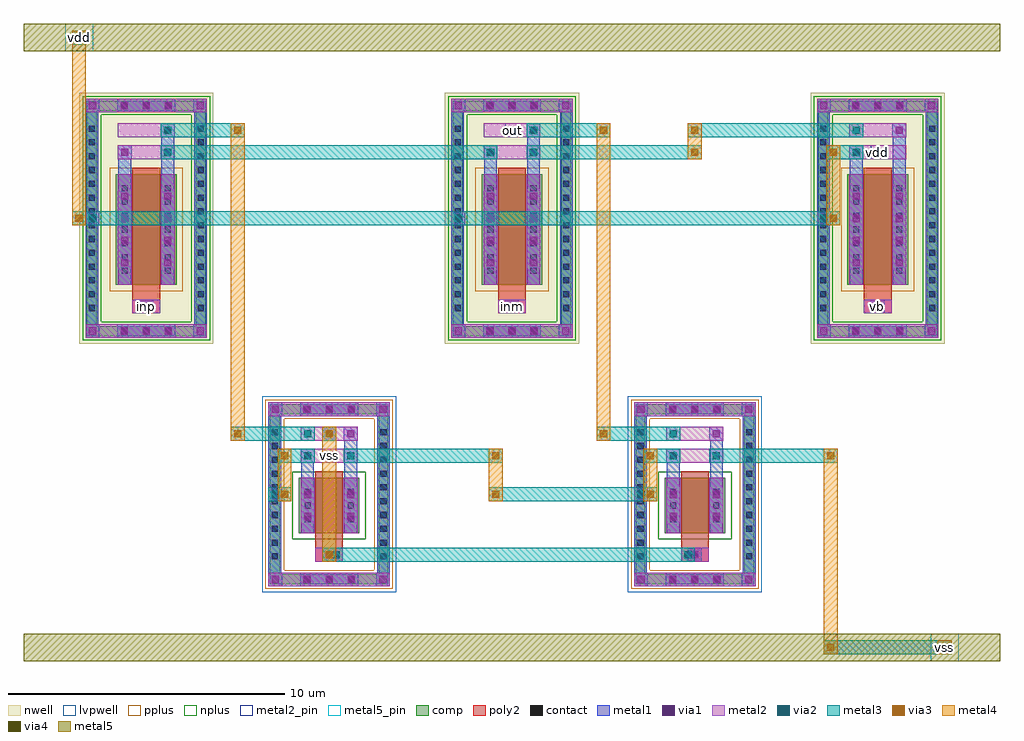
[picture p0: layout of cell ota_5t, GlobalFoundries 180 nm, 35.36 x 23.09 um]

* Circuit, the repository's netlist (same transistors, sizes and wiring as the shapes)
* PMOS-input 5T-OTA (schematic — pre-layout)
.subckt ota_5t vdd vss inp inm out vb
XM1 tail vb vdd vdd pfet_03v3 L=1u W=4u nf=1
XM2 d1 inp tail vdd pfet_03v3 L=1u W=4u nf=1
XM3 out inm tail vdd pfet_03v3 L=1u W=4u nf=1
XM4 d1 d1 vss vss nfet_03v3 L=1u W=2u nf=1
XM5 out d1 vss vss nfet_03v3 L=1u W=2u nf=1
.ends

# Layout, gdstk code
import gdstk
lib = gdstk.Library(unit=1e-6, precision=5e-09)
def R(c, l, rs):  # rectangles x0, y0, x1, y1
    for r in rs: c.add(gdstk.rectangle(r[:2], r[2:], *l))
def A(c, l, x, y, w, h, nx, ny, dx, dy):  # array of equal rectangles
    R(c, l, [(x+i*dx, y+j*dy, x+i*dx+w, y+j*dy+h) for i in range(nx) for j in range(ny)])
def P(c, l, *ps):  # polygons
    for p in ps: c.add(gdstk.Polygon(p, *l))
nwell = (21, 0)
comp = (22, 0)
poly2 = (30, 0)
pplus = (31, 0)
nplus = (32, 0)
contact = (33, 0)
metal1 = (34, 0)
via1 = (35, 0)
metal2 = (36, 0)
metal2_pin = (36, 10)
via2 = (38, 0)
via3 = (40, 0)
via4 = (41, 0)
metal3 = (42, 0)
metal4 = (46, 0)
metal5 = (81, 0)
metal5_pin = (81, 10)
lvpwell = (204, 0)

ota_5t = lib.new_cell('ota_5t')
A(ota_5t, nwell, -2.43, 5.455, 4.86, 9.09, 3, 1, 13.25, 0)
A(ota_5t, nwell, -2.27, 5.615, 4.54, 8.77, 3, 1, 13.25, 0)
A(ota_5t, comp, 5.645, -3.265, 0.36, 0.36, 3, 2, 0.8, 6.17)
A(ota_5t, comp, 18.895, -3.265, 0.36, 0.36, 3, 2, 0.8, 6.17)
A(ota_5t, comp, 4.475, -2.43, 0.36, 0.36, 1, 10, 0, 0.5)
A(ota_5t, comp, 8.415, -2.43, 0.36, 0.36, 1, 10, 0, 0.5)
A(ota_5t, comp, 17.725, -2.43, 0.36, 0.36, 1, 10, 0, 0.5)
A(ota_5t, comp, 21.665, -2.43, 0.36, 0.36, 1, 10, 0, 0.5)
A(ota_5t, comp, -0.98, 5.735, 0.36, 0.36, 3, 2, 0.8, 8.17)
A(ota_5t, comp, -0.98, 5.735, 1.96, 0.36, 3, 2, 13.25, 8.17)
A(ota_5t, comp, 12.27, 5.735, 0.36, 0.36, 3, 2, 0.8, 8.17)
A(ota_5t, comp, 25.52, 5.735, 0.36, 0.36, 3, 2, 0.8, 8.17)
A(ota_5t, comp, -2.15, 6.57, 0.36, 0.36, 1, 14, 0, 0.5)
A(ota_5t, comp, 1.79, 6.57, 0.36, 0.36, 1, 14, 0, 0.5)
A(ota_5t, comp, 11.1, 6.57, 0.36, 0.36, 1, 14, 0, 0.5)
A(ota_5t, comp, 15.04, 6.57, 0.36, 0.36, 1, 14, 0, 0.5)
A(ota_5t, comp, 24.35, 6.57, 0.36, 0.36, 1, 14, 0, 0.5)
A(ota_5t, comp, 28.29, 6.57, 0.36, 0.36, 1, 14, 0, 0.5)
A(ota_5t, comp, -1.1, 7.595, 2.2, 4, 3, 1, 13.25, 0)
R(ota_5t, comp, [(5.645,-3.265,7.605,-2.905), (18.895,-3.265,20.855,-2.905), (4.475,-2.43,4.835,2.43), (8.415,-2.43,8.775,2.43), (17.725,-2.43,18.085,2.43), (21.665,-2.43,22.025,2.43), (5.525,-1.405,7.725,0.595), (18.775,-1.405,20.975,0.595), (5.645,2.905,7.605,3.265), (18.895,2.905,20.855,3.265), (-2.15,6.57,-1.79,13.43), (1.79,6.57,2.15,13.43), (11.1,6.57,11.46,13.43), (15.04,6.57,15.4,13.43), (24.35,6.57,24.71,13.43), (28.29,6.57,28.65,13.43)])
P(ota_5t, comp, [(28.65,14.265),(24.35,14.265),(24.35,6.095),(24.71,6.095),(24.71,13.905),(28.29,13.905),(28.29,6.095),(24.71,6.095),(24.35,6.095),(24.35,5.735),(28.65,5.735)],
  [(22.025,3.265),(17.725,3.265),(17.725,-2.905),(18.085,-2.905),(18.085,2.905),(21.665,2.905),(21.665,-2.905),(18.085,-2.905),(17.725,-2.905),(17.725,-3.265),(22.025,-3.265)],
  [(8.775,3.265),(4.475,3.265),(4.475,-2.905),(4.835,-2.905),(4.835,2.905),(8.415,2.905),(8.415,-2.905),(4.835,-2.905),(4.475,-2.905),(4.475,-3.265),(8.775,-3.265)],
  [(15.4,14.265),(11.1,14.265),(11.1,6.095),(11.46,6.095),(11.46,13.905),(15.04,13.905),(15.04,6.095),(11.46,6.095),(11.1,6.095),(11.1,5.735),(15.4,5.735)],
  [(2.15,14.265),(-2.15,14.265),(-2.15,6.095),(-1.79,6.095),(-1.79,13.905),(1.79,13.905),(1.79,6.095),(-1.79,6.095),(-2.15,6.095),(-2.15,5.735),(2.15,5.735)])
A(ota_5t, poly2, -0.5, 6.555, 1, 0.5, 3, 1, 13.25, 0)
A(ota_5t, poly2, -0.18, 6.625, 0.36, 0.36, 3, 1, 13.25, 0)
A(ota_5t, poly2, -0.5, 7.055, 1, 0.3, 3, 1, 13.25, 0)
A(ota_5t, poly2, -0.5, 7.355, 1, 4.48, 3, 1, 13.25, 0)
R(ota_5t, poly2, [(6.125,-2.445,7.125,-1.945), (19.375,-2.445,20.375,-1.945), (6.445,-2.375,6.805,-2.015), (19.695,-2.375,20.055,-2.015), (6.125,-1.945,7.125,-1.645), (19.375,-1.945,20.375,-1.645), (6.125,-1.645,7.125,0.835), (19.375,-1.645,20.375,0.835)])
A(ota_5t, pplus, -1.33, 7.365, 2.66, 4.46, 3, 1, 13.25, 0)
P(ota_5t, pplus, [(22.185,3.425),(17.565,3.425),(17.565,-2.745),(18.245,-2.745),(18.245,2.745),(21.505,2.745),(21.505,-2.745),(18.245,-2.745),(17.565,-2.745),(17.565,-3.425),(22.185,-3.425)],
  [(8.935,3.425),(4.315,3.425),(4.315,-2.745),(4.995,-2.745),(4.995,2.745),(8.255,2.745),(8.255,-2.745),(4.995,-2.745),(4.315,-2.745),(4.315,-3.425),(8.935,-3.425)])
R(ota_5t, nplus, [(5.295,-1.635,7.955,0.825), (18.545,-1.635,21.205,0.825)])
P(ota_5t, nplus, [(28.81,14.425),(24.19,14.425),(24.19,6.255),(24.87,6.255),(24.87,13.745),(28.13,13.745),(28.13,6.255),(24.87,6.255),(24.19,6.255),(24.19,5.575),(28.81,5.575)],
  [(15.56,14.425),(10.94,14.425),(10.94,6.255),(11.62,6.255),(11.62,13.745),(14.88,13.745),(14.88,6.255),(11.62,6.255),(10.94,6.255),(10.94,5.575),(15.56,5.575)],
  [(2.31,14.425),(-2.31,14.425),(-2.31,6.255),(-1.63,6.255),(-1.63,13.745),(1.63,13.745),(1.63,6.255),(-1.63,6.255),(-2.31,6.255),(-2.31,5.575),(2.31,5.575)])
A(ota_5t, contact, 5.715, -3.195, 0.22, 0.22, 3, 2, 0.8, 6.17)
A(ota_5t, contact, 18.965, -3.195, 0.22, 0.22, 3, 2, 0.8, 6.17)
A(ota_5t, contact, 4.545, -2.36, 0.22, 0.22, 1, 10, 0, 0.5)
A(ota_5t, contact, 8.485, -2.36, 0.22, 0.22, 1, 10, 0, 0.5)
A(ota_5t, contact, 17.795, -2.36, 0.22, 0.22, 1, 10, 0, 0.5)
A(ota_5t, contact, 21.735, -2.36, 0.22, 0.22, 1, 10, 0, 0.5)
A(ota_5t, contact, 5.735, -1.015, 0.22, 0.22, 1, 3, 0, 0.5)
A(ota_5t, contact, 7.295, -1.015, 0.22, 0.22, 1, 3, 0, 0.5)
A(ota_5t, contact, 18.985, -1.015, 0.22, 0.22, 1, 3, 0, 0.5)
A(ota_5t, contact, 20.545, -1.015, 0.22, 0.22, 1, 3, 0, 0.5)
A(ota_5t, contact, -0.91, 5.805, 0.22, 0.22, 3, 2, 0.8, 8.17)
A(ota_5t, contact, 12.34, 5.805, 0.22, 0.22, 3, 2, 0.8, 8.17)
A(ota_5t, contact, 25.59, 5.805, 0.22, 0.22, 3, 2, 0.8, 8.17)
A(ota_5t, contact, -2.08, 6.64, 0.22, 0.22, 1, 14, 0, 0.5)
A(ota_5t, contact, 1.86, 6.64, 0.22, 0.22, 1, 14, 0, 0.5)
A(ota_5t, contact, 11.17, 6.64, 0.22, 0.22, 1, 14, 0, 0.5)
A(ota_5t, contact, 15.11, 6.64, 0.22, 0.22, 1, 14, 0, 0.5)
A(ota_5t, contact, 24.42, 6.64, 0.22, 0.22, 1, 14, 0, 0.5)
A(ota_5t, contact, 28.36, 6.64, 0.22, 0.22, 1, 14, 0, 0.5)
A(ota_5t, contact, -0.11, 6.695, 0.22, 0.22, 3, 1, 13.25, 0)
A(ota_5t, contact, -0.89, 7.985, 0.22, 0.22, 1, 7, 0, 0.5)
A(ota_5t, contact, 0.67, 7.985, 0.22, 0.22, 1, 7, 0, 0.5)
A(ota_5t, contact, 12.36, 7.985, 0.22, 0.22, 1, 7, 0, 0.5)
A(ota_5t, contact, 13.92, 7.985, 0.22, 0.22, 1, 7, 0, 0.5)
A(ota_5t, contact, 25.61, 7.985, 0.22, 0.22, 1, 7, 0, 0.5)
A(ota_5t, contact, 27.17, 7.985, 0.22, 0.22, 1, 7, 0, 0.5)
R(ota_5t, contact, [(6.515,-2.305,6.735,-2.085), (19.765,-2.305,19.985,-2.085)])
A(ota_5t, metal1, 4.425, -3.335, 0.5, 0.5, 1, 3, 0, 3.085)
A(ota_5t, metal1, 5.575, -3.335, 0.5, 0.5, 3, 2, 0.8, 6.17)
A(ota_5t, metal1, 18.825, -3.335, 0.5, 0.5, 3, 2, 0.8, 6.17)
A(ota_5t, metal1, 4.425, -2.48, 0.46, 0.46, 1, 10, 0, 0.5)
A(ota_5t, metal1, 8.365, -2.48, 0.46, 0.46, 1, 10, 0, 0.5)
A(ota_5t, metal1, 17.675, -2.48, 0.46, 0.46, 1, 10, 0, 0.5)
A(ota_5t, metal1, 21.615, -2.48, 0.46, 0.46, 1, 10, 0, 0.5)
A(ota_5t, metal1, 5.615, -1.135, 0.46, 0.46, 1, 3, 0, 0.5)
A(ota_5t, metal1, 7.175, -1.135, 0.46, 0.46, 1, 3, 0, 0.5)
A(ota_5t, metal1, 18.865, -1.135, 0.46, 0.46, 1, 3, 0, 0.5)
A(ota_5t, metal1, 20.425, -1.135, 0.46, 0.46, 1, 3, 0, 0.5)
A(ota_5t, metal1, -1.05, 5.665, 0.5, 0.5, 3, 2, 0.8, 8.17)
A(ota_5t, metal1, -1.05, 5.665, 2.1, 0.5, 3, 2, 13.25, 8.17)
A(ota_5t, metal1, 12.2, 5.665, 0.5, 0.5, 3, 2, 0.8, 8.17)
A(ota_5t, metal1, 25.45, 5.665, 0.5, 0.5, 3, 2, 0.8, 8.17)
A(ota_5t, metal1, -2.2, 6.52, 0.46, 0.46, 1, 14, 0, 0.5)
A(ota_5t, metal1, 1.74, 6.52, 0.46, 0.46, 1, 14, 0, 0.5)
A(ota_5t, metal1, 11.05, 6.52, 0.46, 0.46, 1, 14, 0, 0.5)
A(ota_5t, metal1, 14.99, 6.52, 0.46, 0.46, 1, 14, 0, 0.5)
A(ota_5t, metal1, 24.3, 6.52, 0.46, 0.46, 1, 14, 0, 0.5)
A(ota_5t, metal1, 28.24, 6.52, 0.46, 0.46, 1, 14, 0, 0.5)
A(ota_5t, metal1, -0.25, 6.555, 0.5, 0.5, 3, 1, 13.25, 0)
A(ota_5t, metal1, -1.01, 7.865, 0.46, 0.46, 1, 7, 0, 0.5)
A(ota_5t, metal1, 0.55, 7.865, 0.46, 0.46, 1, 7, 0, 0.5)
A(ota_5t, metal1, 12.24, 7.865, 0.46, 0.46, 1, 7, 0, 0.5)
A(ota_5t, metal1, 13.8, 7.865, 0.46, 0.46, 1, 7, 0, 0.5)
A(ota_5t, metal1, 25.49, 7.865, 0.46, 0.46, 1, 7, 0, 0.5)
A(ota_5t, metal1, 27.05, 7.865, 0.46, 0.46, 1, 7, 0, 0.5)
A(ota_5t, metal1, -1.03, 8.145, 0.5, 0.5, 1, 4, 0, 0.8)
A(ota_5t, metal1, 0.53, 8.145, 0.5, 0.5, 1, 4, 0, 0.8)
A(ota_5t, metal1, 12.22, 8.145, 0.5, 0.5, 1, 4, 0, 0.8)
A(ota_5t, metal1, 13.78, 8.145, 0.5, 0.5, 1, 4, 0, 0.8)
A(ota_5t, metal1, 25.47, 8.145, 0.5, 0.5, 1, 4, 0, 0.8)
A(ota_5t, metal1, 27.03, 8.145, 0.5, 0.5, 1, 4, 0, 0.8)
A(ota_5t, metal1, -1.01, 11.595, 0.46, 1.05, 3, 1, 13.25, 0)
A(ota_5t, metal1, 0.55, 11.595, 0.46, 1.85, 3, 1, 13.25, 0)
A(ota_5t, metal1, -1.03, 12.145, 0.5, 0.5, 3, 1, 13.25, 0)
A(ota_5t, metal1, 0.53, 12.945, 0.5, 0.5, 3, 1, 13.25, 0)
R(ota_5t, metal1, [(4.425,-3.335,4.925,-2.835), (4.425,-3.335,4.885,-2.905), (5.575,-3.335,7.675,-2.835), (8.325,-3.335,8.825,-2.835), (8.325,-3.335,8.825,-2.835), (8.365,-3.335,8.825,-2.905), (17.675,-3.335,18.175,-2.835), (17.675,-3.335,18.175,-2.835), (17.675,-3.335,18.135,-2.905), (18.825,-3.335,20.925,-2.835), (21.575,-3.335,22.075,-2.835), (21.575,-3.335,22.075,-2.835), (21.615,-3.335,22.075,-2.905), (4.425,-2.905,4.885,2.905), (8.365,-2.905,8.825,2.905), (17.675,-2.905,18.135,2.905), (21.615,-2.905,22.075,2.905), (6.375,-2.445,6.875,-1.945), (19.625,-2.445,20.125,-1.945), (5.615,-1.405,6.075,0.595), (7.175,-1.405,7.635,0.595), (18.865,-1.405,19.325,0.595), (20.425,-1.405,20.885,0.595), (5.595,-1.055,6.095,-0.555), (5.595,-1.055,6.095,0.245), (7.155,-1.055,7.655,-0.555), (7.155,-1.055,7.655,0.245), (18.845,-1.055,19.345,-0.555), (18.845,-1.055,19.345,0.245), (20.405,-1.055,20.905,-0.555), (20.405,-1.055,20.905,0.245), (5.595,-0.255,6.095,0.245), (7.155,-0.255,7.655,0.245), (18.845,-0.255,19.345,0.245), (20.405,-0.255,20.905,0.245), (17.675,-0.25,18.175,0.25), (17.675,-0.25,18.175,0.25), (5.615,0.595,6.075,1.645), (7.175,0.595,7.635,2.445), (18.865,0.595,19.325,1.645), (20.425,0.595,20.885,2.445), (5.595,1.145,6.095,1.645), (18.845,1.145,19.345,1.645), (7.155,1.945,7.655,2.445), (20.405,1.945,20.905,2.445), (4.425,2.835,4.925,3.335), (5.575,2.835,7.675,3.335), (8.325,2.835,8.825,3.335), (8.325,2.835,8.825,3.335), (17.675,2.835,18.175,3.335), (17.675,2.835,18.175,3.335), (18.825,2.835,20.925,3.335), (21.575,2.835,22.075,3.335), (21.575,2.835,22.075,3.335), (4.425,2.905,4.885,3.335), (8.365,2.905,8.825,3.335), (17.675,2.905,18.135,3.335), (21.615,2.905,22.075,3.335), (-2.2,5.665,-1.7,6.165), (-2.2,5.665,-1.7,6.165), (-2.2,5.665,-1.74,6.095), (1.7,5.665,2.2,6.165), (1.7,5.665,2.2,6.165), (1.74,5.665,2.2,6.095), (11.05,5.665,11.55,6.165), (11.05,5.665,11.55,6.165), (11.05,5.665,11.51,6.095), (14.95,5.665,15.45,6.165), (14.95,5.665,15.45,6.165), (14.99,5.665,15.45,6.095), (24.3,5.665,24.8,6.165), (24.3,5.665,24.8,6.165), (24.3,5.665,24.76,6.095), (28.2,5.665,28.7,6.165), (28.2,5.665,28.7,6.165), (28.24,5.665,28.7,6.095), (-2.2,6.095,-1.74,13.905), (1.74,6.095,2.2,13.905), (11.05,6.095,11.51,13.905), (14.99,6.095,15.45,13.905), (24.3,6.095,24.76,13.905), (28.24,6.095,28.7,13.905), (-1.01,7.595,-0.55,11.595), (0.55,7.595,1.01,11.595), (12.24,7.595,12.7,11.595), (13.8,7.595,14.26,11.595), (25.49,7.595,25.95,11.595), (27.05,7.595,27.51,11.595), (-1.03,8.145,-0.53,11.045), (0.53,8.145,1.03,11.045), (12.22,8.145,12.72,11.045), (13.78,8.145,14.28,11.045), (25.47,8.145,25.97,11.045), (27.03,8.145,27.53,11.045), (-2.2,9.75,-1.7,10.25), (-2.2,9.75,-1.7,10.25), (11.05,9.75,11.55,10.25), (11.05,9.75,11.55,10.25), (24.3,9.75,24.8,10.25), (24.3,9.75,24.8,10.25), (-2.2,13.835,-1.7,14.335), (-2.2,13.835,-1.7,14.335), (1.7,13.835,2.2,14.335), (1.7,13.835,2.2,14.335), (11.05,13.835,11.55,14.335), (11.05,13.835,11.55,14.335), (14.95,13.835,15.45,14.335), (14.95,13.835,15.45,14.335), (24.3,13.835,24.8,14.335), (24.3,13.835,24.8,14.335), (28.2,13.835,28.7,14.335), (28.2,13.835,28.7,14.335), (-2.2,13.905,-1.74,14.335), (1.74,13.905,2.2,14.335), (11.05,13.905,11.51,14.335), (14.99,13.905,15.45,14.335), (24.3,13.905,24.76,14.335), (28.24,13.905,28.7,14.335)])
A(ota_5t, via1, 4.545, -3.215, 0.26, 0.26, 1, 3, 0, 3.085)
A(ota_5t, via1, 5.695, -3.215, 0.26, 0.26, 3, 2, 0.8, 6.17)
A(ota_5t, via1, 18.945, -3.215, 0.26, 0.26, 3, 2, 0.8, 6.17)
A(ota_5t, via1, -0.93, 5.785, 0.26, 0.26, 3, 2, 0.8, 8.17)
A(ota_5t, via1, 12.32, 5.785, 0.26, 0.26, 3, 2, 0.8, 8.17)
A(ota_5t, via1, 25.57, 5.785, 0.26, 0.26, 3, 2, 0.8, 8.17)
A(ota_5t, via1, -0.13, 6.675, 0.26, 0.26, 3, 1, 13.25, 0)
A(ota_5t, via1, -0.91, 8.265, 0.26, 0.26, 1, 4, 0, 0.8)
A(ota_5t, via1, 0.65, 8.265, 0.26, 0.26, 1, 4, 0, 0.8)
A(ota_5t, via1, 12.34, 8.265, 0.26, 0.26, 1, 4, 0, 0.8)
A(ota_5t, via1, 13.9, 8.265, 0.26, 0.26, 1, 4, 0, 0.8)
A(ota_5t, via1, 25.59, 8.265, 0.26, 0.26, 1, 4, 0, 0.8)
A(ota_5t, via1, 27.15, 8.265, 0.26, 0.26, 1, 4, 0, 0.8)
A(ota_5t, via1, -0.91, 12.265, 0.26, 0.26, 3, 1, 13.25, 0)
A(ota_5t, via1, 0.65, 13.065, 0.26, 0.26, 3, 1, 13.25, 0)
R(ota_5t, via1, [(8.445,-3.215,8.705,-2.955), (17.795,-3.215,18.055,-2.955), (21.695,-3.215,21.955,-2.955), (6.495,-2.325,6.755,-2.065), (19.745,-2.325,20.005,-2.065), (5.715,-0.935,5.975,-0.675), (7.275,-0.935,7.535,-0.675), (18.965,-0.935,19.225,-0.675), (20.525,-0.935,20.785,-0.675), (5.715,-0.135,5.975,0.125), (7.275,-0.135,7.535,0.125), (18.965,-0.135,19.225,0.125), (20.525,-0.135,20.785,0.125), (17.795,-0.13,18.055,0.13), (17.795,-0.13,18.055,0.13), (5.715,1.265,5.975,1.525), (18.965,1.265,19.225,1.525), (7.275,2.065,7.535,2.325), (20.525,2.065,20.785,2.325), (8.445,2.955,8.705,3.215), (17.795,2.955,18.055,3.215), (21.695,2.955,21.955,3.215), (-2.08,5.785,-1.82,6.045), (1.82,5.785,2.08,6.045), (11.17,5.785,11.43,6.045), (15.07,5.785,15.33,6.045), (24.42,5.785,24.68,6.045), (28.32,5.785,28.58,6.045), (-2.08,9.87,-1.82,10.13), (-2.08,9.87,-1.82,10.13), (11.17,9.87,11.43,10.13), (11.17,9.87,11.43,10.13), (24.42,9.87,24.68,10.13), (24.42,9.87,24.68,10.13), (-2.08,13.955,-1.82,14.215), (1.82,13.955,2.08,14.215), (11.17,13.955,11.43,14.215), (15.07,13.955,15.33,14.215), (24.42,13.955,24.68,14.215), (28.32,13.955,28.58,14.215)])
A(ota_5t, metal2, 4.425, -3.335, 0.5, 0.5, 1, 3, 0, 3.085)
A(ota_5t, metal2, 5.575, -3.335, 0.5, 0.5, 3, 2, 0.8, 6.17)
A(ota_5t, metal2, 18.825, -3.335, 0.5, 0.5, 3, 2, 0.8, 6.17)
A(ota_5t, metal2, 5.595, 1.145, 0.5, 0.5, 3, 2, 0.78, 0.8)
A(ota_5t, metal2, -1.79, 5.665, 3.58, 0.5, 3, 2, 13.25, 8.17)
A(ota_5t, metal2, -1.05, 5.665, 0.5, 0.5, 3, 2, 0.8, 8.17)
A(ota_5t, metal2, 12.2, 5.665, 0.5, 0.5, 3, 2, 0.8, 8.17)
A(ota_5t, metal2, 25.45, 5.665, 0.5, 0.5, 3, 2, 0.8, 8.17)
A(ota_5t, metal2, -0.5, 6.555, 1, 0.5, 3, 1, 13.25, 0)
A(ota_5t, metal2, -1.03, 8.145, 0.5, 0.5, 1, 4, 0, 0.8)
A(ota_5t, metal2, 0.53, 8.145, 0.5, 0.5, 1, 4, 0, 0.8)
A(ota_5t, metal2, 12.22, 8.145, 0.5, 0.5, 1, 4, 0, 0.8)
A(ota_5t, metal2, 13.78, 8.145, 0.5, 0.5, 1, 4, 0, 0.8)
A(ota_5t, metal2, 25.47, 8.145, 0.5, 0.5, 1, 4, 0, 0.8)
A(ota_5t, metal2, 27.03, 8.145, 0.5, 0.5, 1, 4, 0, 0.8)
A(ota_5t, metal2, -1.03, 12.145, 2.06, 0.5, 3, 2, 13.25, 0.8)
R(ota_5t, metal2, [(28.68,-5.795,29.18,-5.295), (28.68,-5.795,29.18,-5.295), (4.425,-3.335,4.925,-2.835), (4.425,-3.335,4.835,-2.835), (4.835,-3.335,8.415,-2.835), (8.325,-3.335,8.825,-2.835), (8.325,-3.335,8.825,-2.835), (8.415,-3.335,8.825,-2.835), (17.675,-3.335,18.175,-2.835), (17.675,-3.335,18.175,-2.835), (17.675,-3.335,18.085,-2.835), (18.085,-3.335,21.665,-2.835), (21.575,-3.335,22.075,-2.835), (21.575,-3.335,22.075,-2.835), (21.665,-3.335,22.075,-2.835), (6.125,-2.445,7.125,-1.945), (6.375,-2.445,6.875,-1.945), (6.375,-2.445,6.875,-1.945), (6.625,-2.445,7.125,-1.945), (19.375,-2.445,19.875,-1.945), (19.375,-2.445,20.375,-1.945), (19.625,-2.445,20.125,-1.945), (5.595,-1.405,6.095,0.595), (7.155,-1.405,7.655,0.595), (18.845,-1.405,19.345,0.595), (20.405,-1.405,20.905,0.595), (5.595,-1.055,6.095,-0.555), (7.155,-1.055,7.655,-0.555), (18.845,-1.055,19.345,-0.555), (20.405,-1.055,20.905,-0.555), (5.595,-0.255,6.095,0.245), (7.155,-0.255,7.655,0.245), (18.845,-0.255,19.345,0.245), (20.405,-0.255,20.905,0.245), (17.675,-0.25,18.175,0.25), (17.675,-0.25,18.175,0.25), (5.595,1.145,6.095,1.645), (5.595,1.145,7.655,1.645), (18.845,1.145,19.345,1.645), (18.845,1.145,19.345,1.645), (18.845,1.145,20.905,1.645), (20.405,1.145,20.905,1.645), (5.595,1.945,7.655,2.445), (18.845,1.945,19.345,2.445), (18.845,1.945,20.905,2.445), (20.405,1.945,20.905,2.445), (4.425,2.835,4.925,3.335), (4.425,2.835,4.835,3.335), (4.835,2.835,8.415,3.335), (8.325,2.835,8.825,3.335), (8.325,2.835,8.825,3.335), (8.415,2.835,8.825,3.335), (17.675,2.835,18.175,3.335), (17.675,2.835,18.175,3.335), (17.675,2.835,18.085,3.335), (18.085,2.835,21.665,3.335), (21.575,2.835,22.075,3.335), (21.575,2.835,22.075,3.335), (21.665,2.835,22.075,3.335), (-2.2,5.665,-1.7,6.165), (-2.2,5.665,-1.7,6.165), (-2.2,5.665,-1.79,6.165), (1.7,5.665,2.2,6.165), (1.7,5.665,2.2,6.165), (1.79,5.665,2.2,6.165), (11.05,5.665,11.55,6.165), (11.05,5.665,11.55,6.165), (11.05,5.665,11.46,6.165), (14.95,5.665,15.45,6.165), (14.95,5.665,15.45,6.165), (15.04,5.665,15.45,6.165), (24.3,5.665,24.8,6.165), (24.3,5.665,24.8,6.165), (24.3,5.665,24.71,6.165), (28.2,5.665,28.7,6.165), (28.2,5.665,28.7,6.165), (28.29,5.665,28.7,6.165), (-0.25,6.555,0.25,7.055), (-0.25,6.555,0.25,7.055), (13,6.555,13.5,7.055), (13,6.555,13.5,7.055), (26.25,6.555,26.75,7.055), (26.25,6.555,26.75,7.055), (-1.03,7.595,-0.53,11.595), (0.53,7.595,1.03,11.595), (12.22,7.595,12.72,11.595), (13.78,7.595,14.28,11.595), (25.47,7.595,25.97,11.595), (27.03,7.595,27.53,11.595), (-2.2,9.75,-1.7,10.25), (-2.2,9.75,-1.7,10.25), (11.05,9.75,11.55,10.25), (11.05,9.75,11.55,10.25), (24.3,9.75,24.8,10.25), (24.3,9.75,24.8,10.25), (-1.03,12.145,-0.53,12.645), (0.53,12.145,1.03,12.645), (12.22,12.145,12.72,12.645), (12.22,12.145,12.72,12.645), (13.78,12.145,14.28,12.645), (25.47,12.145,25.97,12.645), (25.47,12.145,25.97,12.645), (26.25,12.145,26.75,12.645), (0.53,12.945,1.03,13.445), (0.53,12.945,1.03,13.445), (13,12.945,13.5,13.445), (13.78,12.945,14.28,13.445), (13.78,12.945,14.28,13.445), (25.47,12.945,25.97,13.445), (27.03,12.945,27.53,13.445), (-2.2,13.835,-1.7,14.335), (-2.2,13.835,-1.7,14.335), (-2.2,13.835,-1.79,14.335), (1.7,13.835,2.2,14.335), (1.7,13.835,2.2,14.335), (1.79,13.835,2.2,14.335), (11.05,13.835,11.55,14.335), (11.05,13.835,11.55,14.335), (11.05,13.835,11.46,14.335), (14.95,13.835,15.45,14.335), (14.95,13.835,15.45,14.335), (15.04,13.835,15.45,14.335), (24.3,13.835,24.8,14.335), (24.3,13.835,24.8,14.335), (24.3,13.835,24.71,14.335), (28.2,13.835,28.7,14.335), (28.2,13.835,28.7,14.335), (28.29,13.835,28.7,14.335), (-2.68,16.295,-2.18,16.795), (-2.68,16.295,-2.18,16.795)])
A(ota_5t, metal2_pin, -0.25, 6.555, 0.5, 0.5, 3, 1, 13.25, 0)
R(ota_5t, metal2_pin, [(6.375,1.145,6.875,1.645), (26.25,12.145,26.75,12.645), (13,12.945,13.5,13.445)])
R(ota_5t, via2, [(28.8,-5.675,29.06,-5.415), (28.8,-5.675,29.06,-5.415), (6.495,-2.325,6.755,-2.065), (6.745,-2.325,7.005,-2.065), (19.495,-2.325,19.755,-2.065), (4.545,-0.13,4.805,0.13), (17.795,-0.13,18.055,0.13), (17.795,-0.13,18.055,0.13), (5.715,1.265,5.975,1.525), (7.275,1.265,7.535,1.525), (18.965,1.265,19.225,1.525), (20.525,1.265,20.785,1.525), (5.715,2.065,5.975,2.325), (6.495,2.065,6.755,2.325), (18.965,2.065,19.225,2.325), (-2.08,9.87,-1.82,10.13), (-2.08,9.87,-1.82,10.13), (11.17,9.87,11.43,10.13), (11.17,9.87,11.43,10.13), (24.42,9.87,24.68,10.13), (24.42,9.87,24.68,10.13), (0.65,12.265,0.91,12.525), (12.34,12.265,12.6,12.525), (13.9,12.265,14.16,12.525), (25.59,12.265,25.85,12.525), (0.65,13.065,0.91,13.325), (13.9,13.065,14.16,13.325), (25.59,13.065,25.85,13.325), (-2.56,16.415,-2.3,16.675), (-2.56,16.415,-2.3,16.675)])
R(ota_5t, via3, [(24.665,-5.675,24.925,-5.415), (28.8,-5.675,29.06,-5.415), (6.495,-2.325,6.755,-2.065), (4.88,-0.13,5.14,0.13), (12.535,-0.13,12.795,0.13), (18.13,-0.13,18.39,0.13), (4.88,1.265,5.14,1.525), (12.535,1.265,12.795,1.525), (18.13,1.265,18.39,1.525), (24.665,1.265,24.925,1.525), (3.185,2.065,3.445,2.325), (6.495,2.065,6.755,2.325), (16.435,2.065,16.695,2.325), (-2.57,9.87,-2.31,10.13), (24.755,9.87,25.015,10.13), (19.745,12.265,20.005,12.525), (24.755,12.265,25.015,12.525), (3.185,13.065,3.445,13.325), (16.435,13.065,16.695,13.325), (19.745,13.065,20.005,13.325), (-2.57,16.415,-2.31,16.675), (-2.56,16.415,-2.3,16.675)])
R(ota_5t, via4, [(28.8,-5.675,29.06,-5.415), (-2.56,16.415,-2.3,16.675)])
R(ota_5t, metal3, [(24.545,-5.795,25.045,-5.295), (24.795,-5.795,28.68,-5.295), (28.68,-5.795,29.18,-5.295), (28.68,-5.795,29.18,-5.295), (6.375,-2.445,6.875,-1.945), (6.625,-2.445,7.125,-1.945), (7.125,-2.445,19.375,-1.945), (19.375,-2.445,19.875,-1.945), (4.425,-0.25,5.01,0.25), (4.425,-0.25,4.925,0.25), (4.76,-0.25,5.26,0.25), (12.415,-0.25,12.915,0.25), (12.665,-0.25,17.675,0.25), (17.675,-0.25,18.26,0.25), (17.675,-0.25,18.175,0.25), (17.675,-0.25,18.175,0.25), (18.01,-0.25,18.51,0.25), (4.76,1.145,5.26,1.645), (5.01,1.145,5.595,1.645), (5.595,1.145,6.095,1.645), (7.155,1.145,7.655,1.645), (7.655,1.145,12.665,1.645), (12.415,1.145,12.915,1.645), (18.01,1.145,18.51,1.645), (18.26,1.145,18.845,1.645), (18.845,1.145,19.345,1.645), (20.405,1.145,20.905,1.645), (20.905,1.145,24.795,1.645), (24.545,1.145,25.045,1.645), (3.065,1.945,3.565,2.445), (3.315,1.945,5.595,2.445), (5.595,1.945,6.095,2.445), (6.375,1.945,6.875,2.445), (16.315,1.945,16.815,2.445), (16.565,1.945,18.845,2.445), (18.845,1.945,19.345,2.445), (-2.69,9.75,-2.19,10.25), (-2.44,9.75,-2.2,10.25), (-2.2,9.75,11.05,10.25), (-2.2,9.75,-1.7,10.25), (-2.2,9.75,-1.7,10.25), (11.05,9.75,24.3,10.25), (11.05,9.75,11.55,10.25), (11.05,9.75,11.55,10.25), (24.3,9.75,24.885,10.25), (24.3,9.75,24.8,10.25), (24.3,9.75,24.8,10.25), (24.635,9.75,25.135,10.25), (0.53,12.145,1.03,12.645), (1.03,12.145,12.22,12.645), (12.22,12.145,12.72,12.645), (13.78,12.145,14.28,12.645), (14.28,12.145,19.875,12.645), (19.625,12.145,20.125,12.645), (24.635,12.145,25.135,12.645), (24.885,12.145,25.47,12.645), (25.47,12.145,25.97,12.645), (0.53,12.945,1.03,13.445), (1.03,12.945,3.315,13.445), (3.065,12.945,3.565,13.445), (13.78,12.945,14.28,13.445), (14.28,12.945,16.565,13.445), (16.315,12.945,16.815,13.445), (19.625,12.945,20.125,13.445), (19.875,12.945,25.47,13.445), (25.47,12.945,25.97,13.445), (-2.69,16.295,-2.19,16.795), (-2.68,16.295,-2.44,16.795), (-2.68,16.295,-2.18,16.795), (-2.68,16.295,-2.18,16.795)])
R(ota_5t, metal4, [(24.545,-5.795,25.045,-5.295), (28.68,-5.795,29.18,-5.295), (24.545,-5.545,25.045,1.395), (6.375,-2.445,6.875,-1.945), (6.375,-1.945,6.875,1.945), (4.76,-0.25,5.26,0.25), (12.415,-0.25,12.915,0.25), (18.01,-0.25,18.51,0.25), (4.76,0,5.26,1.395), (12.415,0,12.915,1.395), (18.01,0,18.51,1.395), (4.76,1.145,5.26,1.645), (12.415,1.145,12.915,1.645), (18.01,1.145,18.51,1.645), (24.545,1.145,25.045,1.645), (3.065,1.945,3.565,2.445), (6.375,1.945,6.875,2.445), (16.315,1.945,16.815,2.445), (3.065,2.195,3.565,13.195), (16.315,2.195,16.815,13.195), (-2.69,9.75,-2.19,10.25), (24.635,9.75,25.135,10.25), (-2.69,10,-2.19,16.545), (24.635,10,25.135,12.395), (19.625,12.145,20.125,12.645), (24.635,12.145,25.135,12.645), (19.625,12.395,20.125,13.195), (3.065,12.945,3.565,13.445), (16.315,12.945,16.815,13.445), (19.625,12.945,20.125,13.445), (-2.69,16.295,-2.19,16.795), (-2.68,16.295,-2.18,16.795)])
R(ota_5t, metal5, [(-4.43,-6.045,30.93,-5.045), (28.68,-5.795,29.18,-5.295), (-4.43,16.045,30.93,17.045), (-2.68,16.295,-2.18,16.795)])
R(ota_5t, metal5_pin, [(28.43,-6.045,29.43,-5.045), (-2.93,16.045,-1.93,17.045)])
R(ota_5t, lvpwell, [(4.195,-3.545,9.055,3.545), (17.445,-3.545,22.305,3.545)])
ota_5t.add(gdstk.Label('vdd', (-2.43,16.545), layer=81, texttype=10))
ota_5t.add(gdstk.Label('vss', (28.93,-5.545), layer=81, texttype=10))
ota_5t.add(gdstk.Label('vb', (26.5,6.805), layer=36, texttype=10))
ota_5t.add(gdstk.Label('out', (13.25,13.195), layer=36, texttype=10))
ota_5t.add(gdstk.Label('inm', (13.25,6.805), layer=36, texttype=10))
ota_5t.add(gdstk.Label('inp', (0,6.805), layer=36, texttype=10))
ota_5t.add(gdstk.Label('vss', (6.625,1.395), layer=36, texttype=10))
ota_5t.add(gdstk.Label('vdd', (26.5,12.395), layer=36, texttype=10))

lib.write_gds('ota_5t.gds')
